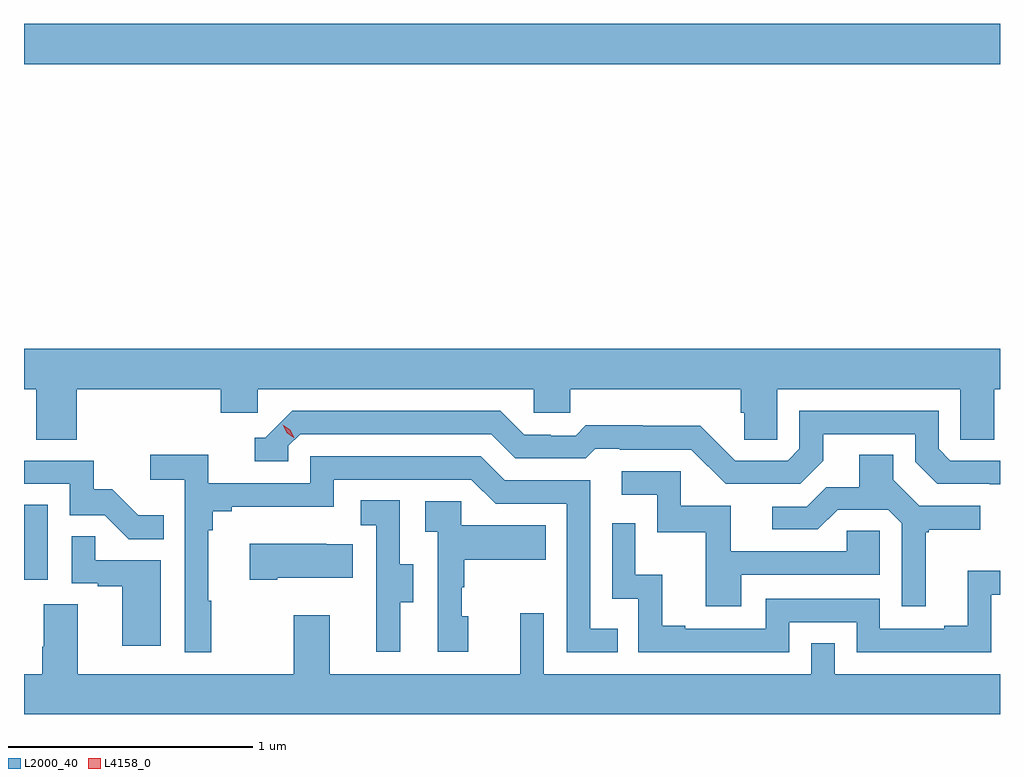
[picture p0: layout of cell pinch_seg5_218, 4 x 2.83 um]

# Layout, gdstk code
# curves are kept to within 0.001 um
import gdstk
lib = gdstk.Library(unit=1e-6, precision=1e-09)
def R(c, l, rs):  # rectangles x0, y0, x1, y1
    for r in rs: c.add(gdstk.rectangle(r[:2], r[2:], *l))
def P(c, l, *ps):  # polygons
    for p in ps: c.add(gdstk.Polygon(p, *l))
L2000_40 = (2000, 40)
L4158_0 = (4158, 0)

pinch_seg5_218 = lib.new_cell('pinch_seg5_218')
R(pinch_seg5_218, L2000_40, [(957.704,894.606,957.802,894.913), (957.704,896.72,961.704,896.884)])
P(pinch_seg5_218, L2000_40, [(957.704,895.388),(957.755,895.388),(957.755,895.18),(957.92,895.18),(957.92,895.388),(958.511,895.388),(958.511,895.29),(958.662,895.29),(958.662,895.388),(959.793,895.388),(959.793,895.29),(959.943,895.29),(959.943,895.388),(960.641,895.388),(960.641,895.29),(960.655,895.29),(960.655,895.18),(960.792,895.18),(960.792,895.388),(961.542,895.388),(961.542,895.18),(961.681,895.18),(961.681,895.388),(961.704,895.388),(961.704,895.552),(957.704,895.552)],
  [(961.704,895.095),(961.5,895.095),(961.452,895.143),(961.452,895.299),(960.882,895.299),(960.882,895.143),(960.834,895.095),(960.618,895.095),(960.476,895.237),(960.24,895.237),(960.24,895.24),(960.007,895.24),(959.965,895.197),(959.862,895.197),(959.862,895.2),(959.755,895.2),(959.656,895.299),(958.803,895.299),(958.692,895.188),(958.649,895.188),(958.649,895.092),(958.788,895.092),(958.788,895.155),(958.836,895.203),(959.619,895.203),(959.718,895.104),(960.007,895.104),(960.046,895.143),(960.145,895.143),(960.145,895.14),(960.438,895.14),(960.579,894.999),(960.885,894.999),(960.979,895.093),(960.979,895.203),(961.356,895.203),(961.356,895.089),(961.446,894.999),(961.704,894.998)],
  [(958.471,894.521),(958.459,894.521),(958.459,894.809),(958.478,894.809),(958.478,894.886),(958.555,894.886),(958.555,894.905),(958.974,894.905),(958.974,895.017),(959.538,895.017),(959.637,894.918),(959.928,894.918),(959.928,894.309),(960.137,894.309),(960.137,894.405),(960.024,894.405),(960.024,895.014),(959.674,895.014),(959.575,895.113),(958.878,895.113),(958.878,895.002),(958.46,895.002),(958.46,895.118),(958.221,895.118),(958.221,895.016),(958.362,895.016),(958.362,894.309),(958.471,894.309)],
  [(961.399,894.801),(961.411,894.801),(961.411,894.812),(961.624,894.812),(961.624,894.909),(961.374,894.909),(961.267,895.016),(961.267,895.118),(961.127,895.118),(961.127,894.986),(960.992,894.986),(960.912,894.906),(960.771,894.906),(960.771,894.813),(960.958,894.813),(961.039,894.894),(961.245,894.894),(961.302,894.837),(961.302,894.498),(961.399,894.498)],
  [(958.277,894.871),(958.173,894.871),(958.066,894.978),(957.99,894.978),(957.99,895.095),(957.704,895.095),(957.704,894.999),(957.891,894.999),(957.891,894.87),(958.035,894.87),(958.133,894.772),(958.277,894.772)],
  [(960.643,894.627),(961.212,894.627),(961.212,894.807),(961.075,894.807),(961.075,894.723),(960.601,894.723),(960.601,894.909),(960.396,894.909),(960.396,895.05),(960.153,895.05),(960.153,894.954),(960.3,894.954),(960.3,894.801),(960.499,894.801),(960.499,894.498),(960.643,894.498)],
  [(959.245,894.514),(959.299,894.514),(959.299,894.669),(959.244,894.669),(959.244,894.932),(959.085,894.932),(959.085,894.829),(959.148,894.829),(959.148,894.525),(959.147,894.525),(959.147,894.312),(959.245,894.312)],
  [(959.524,894.456),(959.499,894.456),(959.499,894.575),(959.509,894.575),(959.509,894.689),(959.843,894.689),(959.843,894.829),(959.496,894.829),(959.496,894.927),(959.349,894.927),(959.349,894.803),(959.4,894.803),(959.4,894.312),(959.524,894.312)],
  [(960.84,894.432),(961.116,894.432),(961.116,894.309),(961.668,894.309),(961.668,894.545),(961.704,894.545),(961.704,894.643),(961.571,894.643),(961.571,894.418),(961.475,894.418),(961.475,894.405),(961.212,894.405),(961.212,894.528),(960.744,894.528),(960.744,894.405),(960.415,894.405),(960.415,894.418),(960.32,894.418),(960.32,894.626),(960.21,894.626),(960.21,894.838),(960.114,894.838),(960.114,894.528),(960.222,894.528),(960.222,894.309),(960.84,894.309)],
  [(958.264,894.687),(957.995,894.687),(957.995,894.785),(957.9,894.785),(957.9,894.591),(958.007,894.591),(958.007,894.579),(958.106,894.579),(958.106,894.336),(958.264,894.336)],
  [(958.741,894.614),(959.051,894.614),(959.051,894.751),(958.943,894.751),(958.943,894.754),(958.629,894.754),(958.629,894.607),(958.741,894.607)],
  [(961.704,894.22),(961.026,894.22),(961.026,894.347),(960.93,894.347),(960.93,894.22),(959.835,894.22),(959.835,894.469),(959.738,894.469),(959.738,894.22),(958.957,894.22),(958.957,894.46),(958.81,894.46),(958.81,894.22),(957.925,894.22),(957.925,894.506),(957.785,894.506),(957.785,894.332),(957.778,894.332),(957.778,894.22),(957.704,894.22),(957.704,894.056),(961.704,894.056)])
P(pinch_seg5_218, L4158_0, [(958.81,895.188),(958.78,895.208),(958.765,895.241),(958.765,895.242),(958.765,895.242),(958.795,895.221),(958.811,895.188),(958.811,895.188)])

lib.write_gds('pinch_seg5_218.gds')
